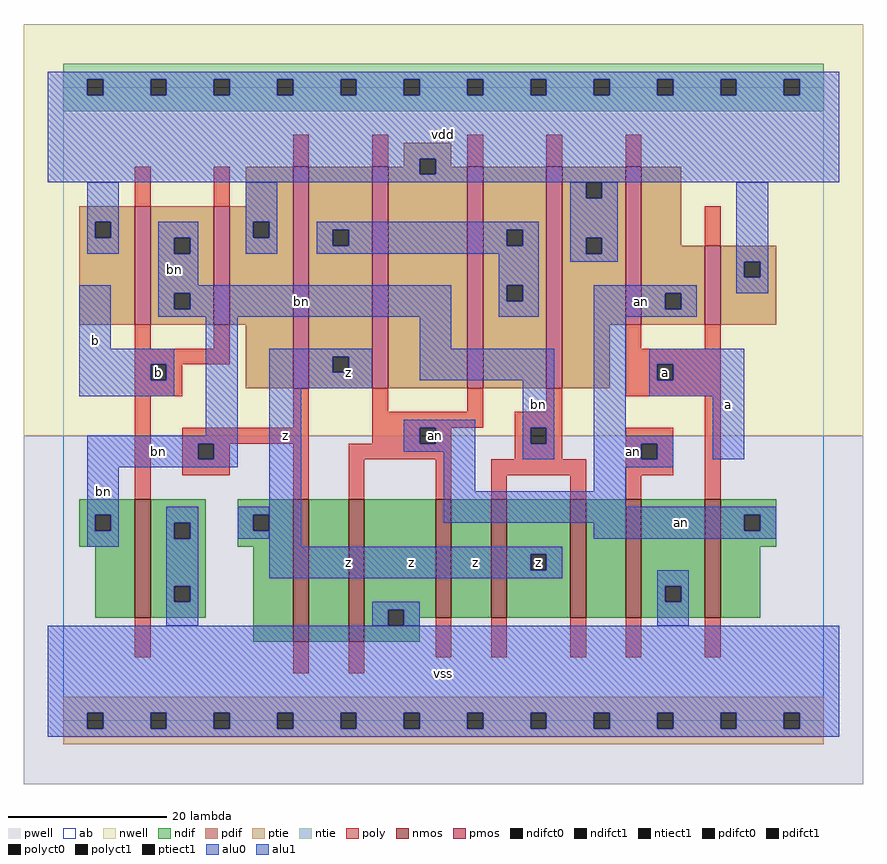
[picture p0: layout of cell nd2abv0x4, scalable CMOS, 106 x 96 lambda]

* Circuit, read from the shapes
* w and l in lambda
.subckt nd2abv0x4 a an b bn vdd vss z
M1 vss b bn vss nfet w=15 l=2
M2 n1 bn z vss nfet w=18 l=2
M3 vss an n1 vss nfet w=18 l=2
M4 n2 an vss vss nfet w=15 l=2
M5 z bn n2 vss nfet w=15 l=2
M6 n3 bn z vss nfet w=15 l=2
M7 vss an n3 vss nfet w=15 l=2
M8 an a vss vss nfet w=15 l=2
M9 bn b vdd vdd pfet w=15 l=2 m=2
M10 z bn vdd vdd pfet w=28 l=2 m=2
M11 vdd an z vdd pfet w=28 l=2 m=2
M12 an a vdd vdd pfet w=20 l=2
M13 vdd a an vdd pfet w=10 l=2
.ends

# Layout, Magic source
magic
tech scmos
<< ab >>
rect 0 0 96 80
<< nwell >>
rect -5 36 101 88
<< pwell >>
rect -5 -8 101 36
<< poly >>
rect 29 70 31 74
rect 39 70 41 74
rect 9 65 11 70
rect 19 65 21 70
rect 9 47 11 50
rect 19 47 21 50
rect 9 45 21 47
rect 9 43 11 45
rect 13 43 15 45
rect 9 41 15 43
rect 51 70 53 74
rect 61 70 63 74
rect 71 70 73 74
rect 81 60 83 65
rect 71 47 73 50
rect 81 47 83 50
rect 71 45 83 47
rect 71 43 75 45
rect 77 43 83 45
rect 9 28 11 41
rect 29 37 31 42
rect 15 35 31 37
rect 39 39 41 42
rect 51 39 53 42
rect 61 39 63 42
rect 71 41 83 43
rect 39 37 53 39
rect 57 37 63 39
rect 39 35 45 37
rect 47 35 49 37
rect 15 33 17 35
rect 19 33 21 35
rect 15 31 21 33
rect 29 28 31 35
rect 36 33 49 35
rect 57 35 59 37
rect 61 35 63 37
rect 57 33 63 35
rect 71 35 77 37
rect 71 33 73 35
rect 75 33 77 35
rect 36 28 38 33
rect 47 28 49 33
rect 54 31 66 33
rect 54 28 56 31
rect 64 28 66 31
rect 71 31 77 33
rect 71 28 73 31
rect 81 28 83 41
rect 9 8 11 13
rect 29 6 31 10
rect 36 6 38 10
rect 47 8 49 13
rect 54 8 56 13
rect 64 8 66 13
rect 71 8 73 13
rect 81 8 83 13
<< ndif >>
rect 2 26 9 28
rect 2 24 4 26
rect 6 24 9 26
rect 2 22 9 24
rect 4 13 9 22
rect 11 25 18 28
rect 11 23 14 25
rect 16 23 18 25
rect 11 17 18 23
rect 22 26 29 28
rect 22 24 24 26
rect 26 24 29 26
rect 22 22 29 24
rect 11 15 14 17
rect 16 15 18 17
rect 11 13 18 15
rect 24 10 29 22
rect 31 10 36 28
rect 38 14 47 28
rect 38 12 41 14
rect 43 13 47 14
rect 49 13 54 28
rect 56 21 64 28
rect 56 19 59 21
rect 61 19 64 21
rect 56 13 64 19
rect 66 13 71 28
rect 73 17 81 28
rect 73 15 76 17
rect 78 15 81 17
rect 73 13 81 15
rect 83 26 90 28
rect 83 24 86 26
rect 88 24 90 26
rect 83 22 90 24
rect 83 13 88 22
rect 43 12 45 13
rect 38 10 45 12
<< pdif >>
rect 43 71 49 73
rect 43 70 45 71
rect 23 65 29 70
rect 2 63 9 65
rect 2 61 4 63
rect 6 61 9 63
rect 2 50 9 61
rect 11 61 19 65
rect 11 59 14 61
rect 16 59 19 61
rect 11 54 19 59
rect 11 52 14 54
rect 16 52 19 54
rect 11 50 19 52
rect 21 63 29 65
rect 21 61 24 63
rect 26 61 29 63
rect 21 50 29 61
rect 23 42 29 50
rect 31 62 39 70
rect 31 60 34 62
rect 36 60 39 62
rect 31 46 39 60
rect 31 44 34 46
rect 36 44 39 46
rect 31 42 39 44
rect 41 69 45 70
rect 47 70 49 71
rect 47 69 51 70
rect 41 42 51 69
rect 53 62 61 70
rect 53 60 56 62
rect 58 60 61 62
rect 53 55 61 60
rect 53 53 56 55
rect 58 53 61 55
rect 53 42 61 53
rect 63 68 71 70
rect 63 66 66 68
rect 68 66 71 68
rect 63 61 71 66
rect 63 59 66 61
rect 68 59 71 61
rect 63 50 71 59
rect 73 60 78 70
rect 73 54 81 60
rect 73 52 76 54
rect 78 52 81 54
rect 73 50 81 52
rect 83 58 90 60
rect 83 56 86 58
rect 88 56 90 58
rect 83 50 90 56
rect 63 42 69 50
<< alu1 >>
rect -2 81 98 82
rect -2 79 3 81
rect 5 79 11 81
rect 13 79 19 81
rect 21 79 27 81
rect 29 79 35 81
rect 37 79 43 81
rect 45 79 51 81
rect 53 79 59 81
rect 61 79 67 81
rect 69 79 75 81
rect 77 79 83 81
rect 85 79 91 81
rect 93 79 98 81
rect -2 71 98 79
rect -2 69 45 71
rect 47 69 98 71
rect -2 68 98 69
rect 2 47 6 55
rect 2 45 14 47
rect 2 43 11 45
rect 13 43 14 45
rect 2 41 14 43
rect 26 46 39 47
rect 26 44 34 46
rect 36 44 39 46
rect 26 42 39 44
rect 26 22 30 42
rect 74 45 86 47
rect 74 43 75 45
rect 77 43 86 45
rect 74 41 86 43
rect 82 33 86 41
rect 26 21 63 22
rect 26 19 59 21
rect 61 19 63 21
rect 26 18 63 19
rect -2 1 98 12
rect -2 -1 3 1
rect 5 -1 11 1
rect 13 -1 19 1
rect 21 -1 27 1
rect 29 -1 35 1
rect 37 -1 43 1
rect 45 -1 51 1
rect 53 -1 59 1
rect 61 -1 67 1
rect 69 -1 75 1
rect 77 -1 83 1
rect 85 -1 91 1
rect 93 -1 98 1
rect -2 -2 98 -1
<< ptie >>
rect 0 1 96 3
rect 0 -1 3 1
rect 5 -1 11 1
rect 13 -1 19 1
rect 21 -1 27 1
rect 29 -1 35 1
rect 37 -1 43 1
rect 45 -1 51 1
rect 53 -1 59 1
rect 61 -1 67 1
rect 69 -1 75 1
rect 77 -1 83 1
rect 85 -1 91 1
rect 93 -1 96 1
rect 0 -3 96 -1
<< ntie >>
rect 0 81 96 83
rect 0 79 3 81
rect 5 79 11 81
rect 13 79 19 81
rect 21 79 27 81
rect 29 79 35 81
rect 37 79 43 81
rect 45 79 51 81
rect 53 79 59 81
rect 61 79 67 81
rect 69 79 75 81
rect 77 79 83 81
rect 85 79 91 81
rect 93 79 96 81
rect 0 77 96 79
<< nmos >>
rect 9 13 11 28
rect 29 10 31 28
rect 36 10 38 28
rect 47 13 49 28
rect 54 13 56 28
rect 64 13 66 28
rect 71 13 73 28
rect 81 13 83 28
<< pmos >>
rect 9 50 11 65
rect 19 50 21 65
rect 29 42 31 70
rect 39 42 41 70
rect 51 42 53 70
rect 61 42 63 70
rect 71 50 73 70
rect 81 50 83 60
<< polyct0 >>
rect 45 35 47 37
rect 17 33 19 35
rect 59 35 61 37
rect 73 33 75 35
<< polyct1 >>
rect 11 43 13 45
rect 75 43 77 45
<< ndifct0 >>
rect 4 24 6 26
rect 14 23 16 25
rect 24 24 26 26
rect 14 15 16 17
rect 41 12 43 14
rect 76 15 78 17
rect 86 24 88 26
<< ndifct1 >>
rect 59 19 61 21
<< ntiect1 >>
rect 3 79 5 81
rect 11 79 13 81
rect 19 79 21 81
rect 27 79 29 81
rect 35 79 37 81
rect 43 79 45 81
rect 51 79 53 81
rect 59 79 61 81
rect 67 79 69 81
rect 75 79 77 81
rect 83 79 85 81
rect 91 79 93 81
<< ptiect1 >>
rect 3 -1 5 1
rect 11 -1 13 1
rect 19 -1 21 1
rect 27 -1 29 1
rect 35 -1 37 1
rect 43 -1 45 1
rect 51 -1 53 1
rect 59 -1 61 1
rect 67 -1 69 1
rect 75 -1 77 1
rect 83 -1 85 1
rect 91 -1 93 1
<< pdifct0 >>
rect 4 61 6 63
rect 14 59 16 61
rect 14 52 16 54
rect 24 61 26 63
rect 34 60 36 62
rect 56 60 58 62
rect 56 53 58 55
rect 66 66 68 68
rect 66 59 68 61
rect 76 52 78 54
rect 86 56 88 58
<< pdifct1 >>
rect 34 44 36 46
rect 45 69 47 71
<< alu0 >>
rect 3 63 7 68
rect 23 63 27 68
rect 64 66 66 68
rect 68 66 70 68
rect 3 61 4 63
rect 6 61 7 63
rect 3 59 7 61
rect 12 61 17 63
rect 12 59 14 61
rect 16 59 17 61
rect 23 61 24 63
rect 26 61 27 63
rect 23 59 27 61
rect 32 62 60 63
rect 32 60 34 62
rect 36 60 56 62
rect 58 60 60 62
rect 32 59 60 60
rect 12 55 17 59
rect 55 55 60 59
rect 64 61 70 66
rect 64 59 66 61
rect 68 59 70 61
rect 64 58 70 59
rect 85 58 89 68
rect 85 56 86 58
rect 88 56 89 58
rect 12 54 49 55
rect 12 52 14 54
rect 16 52 49 54
rect 12 51 49 52
rect 55 53 56 55
rect 58 53 60 55
rect 55 51 60 53
rect 67 54 80 55
rect 85 54 89 56
rect 67 52 76 54
rect 78 52 80 54
rect 67 51 80 52
rect 18 36 22 51
rect 45 47 49 51
rect 3 35 22 36
rect 3 33 17 35
rect 19 33 22 35
rect 3 32 22 33
rect 45 43 62 47
rect 3 26 7 32
rect 3 24 4 26
rect 6 24 7 26
rect 3 22 7 24
rect 13 25 17 27
rect 13 23 14 25
rect 16 23 17 25
rect 22 26 26 27
rect 22 24 24 26
rect 22 23 26 24
rect 13 17 17 23
rect 43 37 52 38
rect 43 35 45 37
rect 47 35 52 37
rect 43 34 52 35
rect 48 29 52 34
rect 58 37 62 43
rect 58 35 59 37
rect 61 35 62 37
rect 58 33 62 35
rect 67 36 71 51
rect 67 35 77 36
rect 67 33 73 35
rect 75 33 77 35
rect 67 32 77 33
rect 67 29 71 32
rect 48 27 71 29
rect 48 26 90 27
rect 48 25 86 26
rect 67 24 86 25
rect 88 24 90 26
rect 67 23 90 24
rect 13 15 14 17
rect 16 15 17 17
rect 75 17 79 19
rect 75 15 76 17
rect 78 15 79 17
rect 13 12 17 15
rect 39 14 45 15
rect 39 12 41 14
rect 43 12 45 14
rect 75 12 79 15
<< labels >>
rlabel alu0 5 29 5 29 6 bn
rlabel alu0 12 34 12 34 6 bn
rlabel alu0 14 57 14 57 6 bn
rlabel alu0 47 36 47 36 6 an
rlabel alu0 60 40 60 40 6 bn
rlabel alu0 30 53 30 53 6 bn
rlabel alu0 72 34 72 34 6 an
rlabel alu0 78 25 78 25 6 an
rlabel alu0 73 53 73 53 6 an
rlabel polyct1 12 44 12 44 6 b
rlabel alu1 4 48 4 48 6 b
rlabel alu1 44 20 44 20 6 z
rlabel alu1 36 20 36 20 6 z
rlabel alu1 28 36 28 36 6 z
rlabel alu1 36 44 36 44 6 z
rlabel alu1 48 6 48 6 6 vss
rlabel ndifct1 60 20 60 20 6 z
rlabel alu1 52 20 52 20 6 z
rlabel alu1 48 74 48 74 6 vdd
rlabel alu1 84 40 84 40 6 a
rlabel polyct1 76 44 76 44 6 a
<< end >>
